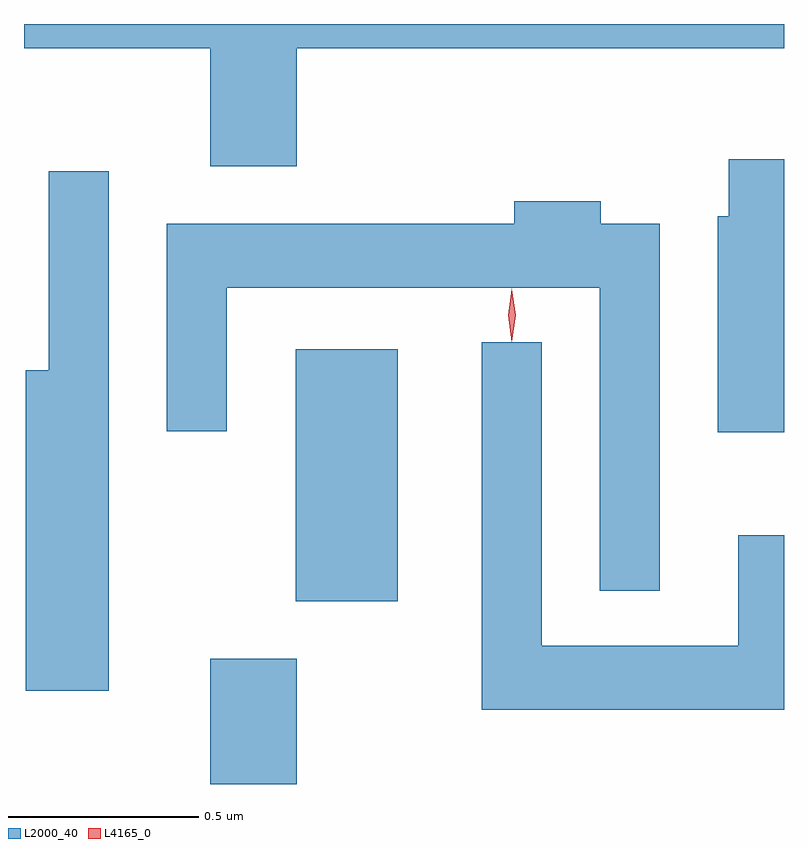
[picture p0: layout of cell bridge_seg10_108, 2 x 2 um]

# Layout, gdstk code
import gdstk
lib = gdstk.Library(unit=1e-6, precision=1e-09)
def R(c, l, rs):  # rectangles x0, y0, x1, y1
    for r in rs: c.add(gdstk.rectangle(r[:2], r[2:], *l))
def P(c, l, *ps):  # polygons
    for p in ps: c.add(gdstk.Polygon(p, *l))
L2000_40 = (2000, 40)
L4165_0 = (4165, 0)

bridge_seg10_108 = lib.new_cell('bridge_seg10_108')
R(bridge_seg10_108, L2000_40, [(1587.371,2180.8,1587.599,2181.129), (1587.596,2181.281,1587.864,2181.944)])
P(bridge_seg10_108, L2000_40, [(1587.599,2182.736),(1588.881,2182.736),(1588.881,2182.8),(1586.881,2182.8),(1586.881,2182.736),(1587.371,2182.736),(1587.371,2182.426),(1587.599,2182.426)],
  [(1588.881,2182.444),(1588.736,2182.444),(1588.736,2182.294),(1588.706,2182.294),(1588.706,2181.726),(1588.881,2181.726)],
  [(1587.104,2182.413),(1586.946,2182.413),(1586.946,2181.889),(1586.886,2181.889),(1586.886,2181.046),(1587.104,2181.046)],
  [(1588.554,2182.274),(1588.399,2182.274),(1588.399,2182.334),(1588.171,2182.334),(1588.171,2182.274),(1587.256,2182.274),(1587.256,2181.728),(1587.414,2181.728),(1587.414,2182.106),(1588.396,2182.106),(1588.396,2181.308),(1588.554,2181.308)],
  [(1588.881,2181.454),(1588.761,2181.454),(1588.761,2181.164),(1588.244,2181.164),(1588.244,2181.963),(1588.086,2181.963),(1588.086,2180.996),(1588.881,2180.996)])
P(bridge_seg10_108, L4165_0, [(1588.164,2181.964),(1588.155,2182.033),(1588.164,2182.102),(1588.165,2182.103),(1588.165,2182.102),(1588.175,2182.033),(1588.165,2181.964),(1588.165,2181.964)],
  [(1588.165,2181.967),(1588.164,2181.968),(1588.155,2182.034),(1588.164,2182.1),(1588.165,2182.1),(1588.165,2182.1),(1588.175,2182.034),(1588.165,2181.968)])

lib.write_gds('bridge_seg10_108.gds')
